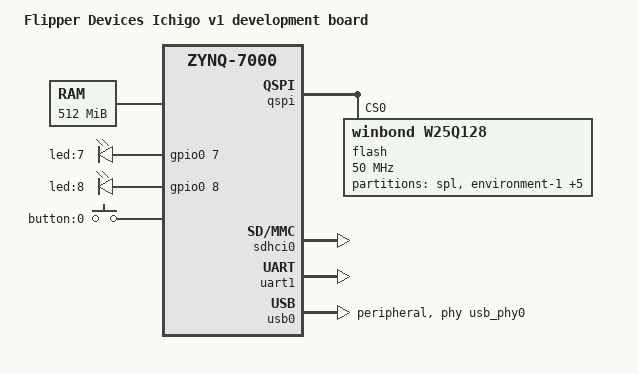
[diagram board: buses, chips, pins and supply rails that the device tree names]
 // SPDX-License-Identifier: GPL-2.0+
/*
 *  Copyright (C) 2011 - 2015 Xilinx
 *  Copyright (C) 2012 National Instruments Corp.
 */
/dts-v1/;

#include <dt-bindings/gpio/gpio.h>
#include <dt-bindings/leds/common.h>
#include <dt-bindings/input/input.h>
#include <dt-bindings/interrupt-controller/irq.h>

#include "zynq-7000.dtsi"

/ {
	model = "Flipper Devices Ichigo v1 development board";
	compatible = "flipperdevices,zynq-ichigo-v1", "xlnx,zynq-ichigo-v1", "xlnx,zynq-7000";

	aliases {
		serial0 = &uart1;
	};

	memory@0 {
		device_type = "memory";
		reg = <0x0 0x20000000>;
	};

	chosen {
		bootargs = "";
		stdout-path = "serial0:115200n8";
	};

	clocks {
		ad9364_clkin: clock {
			#clock-cells = <0>;
			compatible = "adjustable-clock";
			clock-frequency = <40000000>;
			clock-accuracy = <200000>; /* 200 ppm (ppb) */
			clock-output-names = "ad9364_ext_refclk";
		};
	};

	usb_phy0: phy0@e0002000 {
		compatible = "ulpi-phy";
		#phy-cells = <0>;
		reg = <0xe0002000 0x1000>;
		view-port = <0x0170>;
		drv-vbus;
	};

	leds {
		compatible = "gpio-leds";
		led0 {
			label = "led:7";
			function = LED_FUNCTION_HEARTBEAT;
			gpios = <&gpio0 7 GPIO_ACTIVE_HIGH>;
			linux,default-trigger = "heartbeat";
		};
		led1 {
			label = "led:8";
			function = LED_FUNCTION_STATUS;
			gpios = <&gpio0 8 GPIO_ACTIVE_HIGH>;
		};
	};

	gpio_keys {
		compatible = "gpio-keys";
		#address-cells = <1>;
		#size-cells = <0>;

		button {
			label = "button:0";
			linux,code = <BTN_MISC>;
			interrupt-parent = <&gpio0>;
			interrupts = <0 IRQ_TYPE_EDGE_FALLING>;
			wakeup-source;
		};
	};
};

&clkc {
	ps-clk-frequency = <33333333>;
};

&cpu0 {
	operating-points = <
		/* kHz    uV */
		666667  1000000
		333334  1000000
		266667  1000000
		166667  1000000
		 66667  1000000
		 33334  1000000
	>;
};

&qspi {
	u-boot,dm-pre-reloc;
	status = "okay";
	is-dual = <0>;
	num-cs = <1>;
	flash@0 {
		compatible = "winbond,w25q128", "jedec,spi-nor";
		reg = <0>;
		spi-tx-bus-width = <1>;
		spi-rx-bus-width = <4>;
		spi-max-frequency = <50000000>;
		m25p,fast-read;
		#address-cells = <1>;
		#size-cells = <1>;
		partition@0 {
			label = "spl";
			reg = <0x0 0x40000>;
		};
		partition@40000 {
			label = "environment-1";
			reg = <0x40000 0x20000>;
		};
		partition@60000 {
			label = "environment-2";
			reg = <0x60000 0x20000>;
		};
		partition@80000 {
			label = "bootscript";
			reg = <0x80000 0x40000>;
		};
		partition@C0000 {
			label = "spare";
			reg = <0xC0000 0x40000>;
		};
		partition@100000 {
			label = "u-boot";
			reg = <0x100000 0x100000>;
		};
		partition@200000 {
			label = "bitstream";
			reg = <0x200000 0xE00000>;
		};
	};
};

&sdhci0 {
	u-boot,dm-pre-reloc;
	status = "okay";
};

&uart1 {
	u-boot,dm-pre-reloc;
	status = "okay";
};

&usb0 {
	status = "okay";
	dr_mode = "peripheral";
	usb-phy = <&usb_phy0>;
	usb-reset = <&gpio0 10 0>;
};
